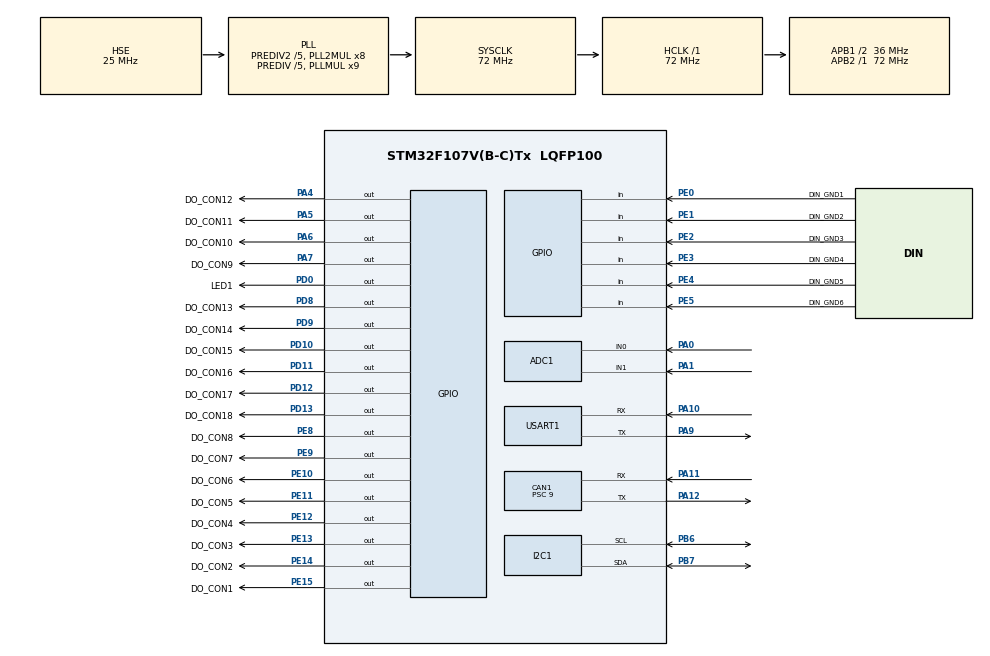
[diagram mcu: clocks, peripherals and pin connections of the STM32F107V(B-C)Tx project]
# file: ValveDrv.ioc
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ADC1.Channel-0\#ChannelRegularConversion=ADC_CHANNEL_0
ADC1.Channel-1\#ChannelRegularConversion=ADC_CHANNEL_1
ADC1.ContinuousConvMode=ENABLE
ADC1.NbrOfConversion=2
ADC1.NbrOfConversionFlag=1
ADC1.Rank-0\#ChannelRegularConversion=1
ADC1.Rank-1\#ChannelRegularConversion=2
ADC1.SamplingTime-0\#ChannelRegularConversion=ADC_SAMPLETIME_55CYCLES_5
ADC1.SamplingTime-1\#ChannelRegularConversion=ADC_SAMPLETIME_55CYCLES_5
ADC1.master=1
CAN1.BS1=CAN_BS1_7TQ
CAN1.BS2=CAN_BS2_8TQ
CAN1.CalculateBaudRate=250000
CAN1.CalculateTimeBit=4000
CAN1.CalculateTimeQuantum=250.0
CAN1.NART=ENABLE
CAN1.Prescaler=9
Dma.ADC1.0.Direction=DMA_PERIPH_TO_MEMORY
Dma.ADC1.0.Instance=DMA1_Channel1
Dma.ADC1.0.MemDataAlignment=DMA_MDATAALIGN_HALFWORD
Dma.ADC1.0.MemInc=DMA_MINC_ENABLE
Dma.ADC1.0.Mode=DMA_CIRCULAR
Dma.ADC1.0.PeriphDataAlignment=DMA_PDATAALIGN_HALFWORD
Dma.ADC1.0.PeriphInc=DMA_PINC_DISABLE
Dma.ADC1.0.Priority=DMA_PRIORITY_HIGH
Dma.Request0=ADC1
FREERTOS.Tasks01=defaultTask,0,64,StartDefaultTask,Default,NULL,Dynamic,NULL,NULL;Task_CAN,1,128,CanTask,Default,NULL,Dynamic,NULL,NULL;Task_FeedDog,0,64,FeedDogTask,Default,NULL,Dynamic,NULL,NULL;Task_GPIO,2,64,GPIOControlTask,Default,NULL,Dynamic,NULL,NULL
FREERTOS.configMINIMAL_STACK_SIZE=64
FREERTOS.configTOTAL_HEAP_SIZE=8192
FREERTOS.configUSE_TIMERS=0
IWDG.Prescaler=IWDG_PRESCALER_64
IWDG.Reload=500
Mcu.Family=STM32F1
Mcu.Name=STM32F107V(B-C)Tx
Mcu.Package=LQFP100
NVIC.CAN1_RX0_IRQn=true\:5\:0\:false\:false\:true\:true\:true\:true
NVIC.DMA1_Channel1_IRQn=true\:5\:0\:false\:false\:true\:true\:false\:true
NVIC.PriorityGroup=NVIC_PRIORITYGROUP_4
NVIC.TIM1_UP_IRQn=true\:15\:0\:false\:false\:true\:false\:false\:true
NVIC.TimeBase=TIM1_UP_IRQn
NVIC.TimeBaseIP=TIM1
NVIC.USART1_IRQn=true\:5\:0\:false\:false\:true\:true\:true\:true
OSC_IN.Mode=HSE-External-Oscillator
OSC_IN.Signal=RCC_OSC_IN
OSC_OUT.Mode=HSE-External-Oscillator
OSC_OUT.Signal=RCC_OSC_OUT
PA0-WKUP.Signal=ADCx_IN0
PA1.Signal=ADCx_IN1
PA10.GPIO_PuPd=GPIO_PULLDOWN
PA10.Mode=Asynchronous
PA10.Signal=USART1_RX
PA11.Mode=CAN_Activate
PA11.Signal=CAN1_RX
PA12.Mode=CAN_Activate
PA12.Signal=CAN1_TX
PA13.Mode=Serial_Wire
PA13.Signal=SYS_JTMS-SWDIO
PA14.Mode=Serial_Wire
PA14.Signal=SYS_JTCK-SWCLK
PA4.GPIO_Label=DO_CON12
PA4.GPIO_PuPd=GPIO_PULLDOWN
PA4.GPIO_Speed=GPIO_SPEED_FREQ_HIGH
PA4.Signal=GPIO_Output
PA5.GPIO_Label=DO_CON11
PA5.GPIO_PuPd=GPIO_PULLDOWN
PA5.GPIO_Speed=GPIO_SPEED_FREQ_HIGH
PA5.Signal=GPIO_Output
PA6.GPIO_Label=DO_CON10
PA6.GPIO_PuPd=GPIO_PULLDOWN
PA6.GPIO_Speed=GPIO_SPEED_FREQ_HIGH
PA6.Signal=GPIO_Output
PA7.GPIO_Label=DO_CON9
PA7.GPIO_PuPd=GPIO_PULLDOWN
PA7.GPIO_Speed=GPIO_SPEED_FREQ_HIGH
PA7.Signal=GPIO_Output
PA9.Mode=Asynchronous
PA9.Signal=USART1_TX
PB6.Mode=I2C
PB6.Signal=I2C1_SCL
PB7.Mode=I2C
PB7.Signal=I2C1_SDA
PD0.GPIO_Label=LED1
PD0.GPIO_PuPd=GPIO_PULLDOWN
PD0.GPIO_Speed=GPIO_SPEED_FREQ_HIGH
PD0.Signal=GPIO_Output
PD10.GPIO_Label=DO_CON15
PD10.GPIO_PuPd=GPIO_PULLDOWN
PD10.GPIO_Speed=GPIO_SPEED_FREQ_HIGH
PD10.Signal=GPIO_Output
PD11.GPIO_Label=DO_CON16
PD11.GPIO_PuPd=GPIO_PULLDOWN
PD11.GPIO_Speed=GPIO_SPEED_FREQ_HIGH
PD11.Signal=GPIO_Output
PD12.GPIO_Label=DO_CON17
PD12.GPIO_PuPd=GPIO_PULLDOWN
PD12.GPIO_Speed=GPIO_SPEED_FREQ_HIGH
PD12.Signal=GPIO_Output
PD13.GPIO_Label=DO_CON18
PD13.GPIO_PuPd=GPIO_PULLDOWN
PD13.GPIO_Speed=GPIO_SPEED_FREQ_HIGH
PD13.Signal=GPIO_Output
PD8.GPIO_Label=DO_CON13
PD8.GPIO_PuPd=GPIO_PULLDOWN
PD8.GPIO_Speed=GPIO_SPEED_FREQ_HIGH
PD8.Signal=GPIO_Output
PD9.GPIO_Label=DO_CON14
PD9.GPIO_PuPd=GPIO_PULLDOWN
PD9.GPIO_Speed=GPIO_SPEED_FREQ_HIGH
PD9.Signal=GPIO_Output
PE0.GPIO_Label=DIN_GND1
PE0.Signal=GPIO_Input
PE1.GPIO_Label=DIN_GND2
PE1.Signal=GPIO_Input
PE10.GPIO_Label=DO_CON6
PE10.GPIO_PuPd=GPIO_PULLDOWN
PE10.GPIO_Speed=GPIO_SPEED_FREQ_HIGH
PE10.Signal=GPIO_Output
PE11.GPIO_Label=DO_CON5
PE11.GPIO_PuPd=GPIO_PULLDOWN
PE11.GPIO_Speed=GPIO_SPEED_FREQ_HIGH
PE11.Signal=GPIO_Output
PE12.GPIO_Label=DO_CON4
PE12.GPIO_PuPd=GPIO_PULLDOWN
PE12.GPIO_Speed=GPIO_SPEED_FREQ_HIGH
PE12.Signal=GPIO_Output
PE13.GPIO_Label=DO_CON3
PE13.GPIO_PuPd=GPIO_PULLDOWN
PE13.GPIO_Speed=GPIO_SPEED_FREQ_HIGH
PE13.Signal=GPIO_Output
PE14.GPIO_Label=DO_CON2
PE14.GPIO_PuPd=GPIO_PULLDOWN
PE14.GPIO_Speed=GPIO_SPEED_FREQ_HIGH
PE14.Signal=GPIO_Output
PE15.GPIO_Label=DO_CON1
PE15.GPIO_PuPd=GPIO_PULLDOWN
PE15.GPIO_Speed=GPIO_SPEED_FREQ_HIGH
PE15.Signal=GPIO_Output
PE2.GPIO_Label=DIN_GND3
PE2.Signal=GPIO_Input
PE3.GPIO_Label=DIN_GND4
PE3.Signal=GPIO_Input
PE4.GPIO_Label=DIN_GND5
PE4.Signal=GPIO_Input
PE5.GPIO_Label=DIN_GND6
PE5.Signal=GPIO_Input
PE8.GPIO_Label=DO_CON8
PE8.GPIO_PuPd=GPIO_PULLDOWN
PE8.GPIO_Speed=GPIO_SPEED_FREQ_HIGH
PE8.Signal=GPIO_Output
PE9.GPIO_Label=DO_CON7
PE9.GPIO_PuPd=GPIO_PULLDOWN
PE9.GPIO_Speed=GPIO_SPEED_FREQ_HIGH
PE9.Signal=GPIO_Output
ProjectManager.HeapSize=0x200
ProjectManager.StackSize=0x400
ProjectManager.TargetToolchain=MDK-ARM V5
RCC.ADCPresc=RCC_ADCPCLK2_DIV6
RCC.AHBFreq_Value=72000000
RCC.APB1CLKDivider=RCC_HCLK_DIV2
RCC.APB1Freq_Value=36000000
RCC.APB1TimFreq_Value=72000000
RCC.APB2Freq_Value=72000000
RCC.APB2TimFreq_Value=72000000
RCC.HCLKFreq_Value=72000000
RCC.HSEDivPLL=RCC_HSE_PREDIV_DIV5
RCC.HSE_VALUE=25000000
RCC.PLLMUL=RCC_PLL_MUL9
RCC.PLLSourceVirtual=RCC_PLLSOURCE_HSE
RCC.Prediv1Source=RCC_PREDIV1_SOURCE_PLL2
RCC.Prediv2=RCC_HSE_PREDIV2_DIV5
RCC.SYSCLKFreq_VALUE=72000000
RCC.SYSCLKSource=RCC_SYSCLKSOURCE_PLLCLK
RCC.USBFreq_Value=48000000
SH.ADCx_IN0.0=ADC1_IN0,IN0
SH.ADCx_IN1.0=ADC1_IN1,IN1
USART1.VirtualMode=VM_ASYNC
VP_FREERTOS_VS_CMSIS_V1.Mode=CMSIS_V1
VP_IWDG_VS_IWDG.Mode=IWDG_Activate
VP_SYS_VS_tim1.Mode=TIM1
board=custom

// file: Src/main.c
/* USER CODE BEGIN Header */
/**
  ******************************************************************************
  * @file           : main.c
  * @brief          : Main program body
  ******************************************************************************
  * @attention
  *
  * <h2><center>&copy; Copyright (c) 2021 STMicroelectronics.
  * All rights reserved.</center></h2>
  *
  * This software component is licensed by ST under Ultimate Liberty license
  * SLA0044, the "License"; You may not use this file except in compliance with
  * the License. You may obtain a copy of the License at:
  *                             www.st.com/SLA0044
  *
  ******************************************************************************
  */
/* USER CODE END Header */
#include "main.h"
#include "cmsis_os.h"
#include "adc.h"
#include "can.h"
#include "dma.h"
#include "i2c.h"
#include "iwdg.h"
#include "usart.h"
#include "gpio.h"

/* USER CODE BEGIN Includes */
#include "stdio.h"
/* USER CODE END Includes */

/* USER CODE BEGIN PTD */
uint16_t ADC1_Val_Buffer[2];
uint16_t ADC_Val_Buffer[2];
uint16_t ADC_Buffer1[100];
uint16_t ADC_Buffer2[100];
/* USER CODE END PTD */

void SystemClock_Config(void);
void MX_FREERTOS_Init(void);

int main(void)
{

  /* MCU Configuration--------------------------------------------------------*/

  /* Reset of all peripherals, Initializes the Flash interface and the Systick. */
  HAL_Init();

  /* Configure the system clock */
  SystemClock_Config();

  /* Initialize all configured peripherals */
  MX_GPIO_Init();
  MX_CAN1_Init();
  MX_USART1_UART_Init();
  MX_DMA_Init();
  MX_ADC1_Init();
  MX_IWDG_Init();
  MX_I2C1_Init();
  /* USER CODE BEGIN 2 */
  CAN_User_Init(&hcan1);
	HAL_ADCEx_Calibration_Start(&hadc1);
	if(HAL_ADC_Start_DMA(&hadc1, (uint32_t*)&ADC1_Val_Buffer, 2) != HAL_OK)
  {
    Error_Handler();
  }
	//printf("1\n");
  /* USER CODE END 2 */

  /* Call init function for freertos objects (in freertos.c) */
  MX_FREERTOS_Init();
  /* Start scheduler */
  osKernelStart();

  /* We should never get here as control is now taken by the scheduler */
  /* Infinite loop */
  while (1)
  {

  }
}

void SystemClock_Config(void)
{
  RCC_OscInitTypeDef RCC_OscInitStruct = {0};
  RCC_ClkInitTypeDef RCC_ClkInitStruct = {0};
  RCC_PeriphCLKInitTypeDef PeriphClkInit = {0};

  /** Initializes the RCC Oscillators according to the specified parameters
  * in the RCC_OscInitTypeDef structure.
  */
  RCC_OscInitStruct.OscillatorType = RCC_OSCILLATORTYPE_LSI|RCC_OSCILLATORTYPE_HSE;
  RCC_OscInitStruct.HSEState = RCC_HSE_ON;
  RCC_OscInitStruct.HSEPredivValue = RCC_HSE_PREDIV_DIV5;
  RCC_OscInitStruct.HSIState = RCC_HSI_ON;
  RCC_OscInitStruct.LSIState = RCC_LSI_ON;
  RCC_OscInitStruct.Prediv1Source = RCC_PREDIV1_SOURCE_PLL2;
  RCC_OscInitStruct.PLL.PLLState = RCC_PLL_ON;
  RCC_OscInitStruct.PLL.PLLSource = RCC_PLLSOURCE_HSE;
  RCC_OscInitStruct.PLL.PLLMUL = RCC_PLL_MUL9;
  RCC_OscInitStruct.PLL2.PLL2State = RCC_PLL2_ON;
  RCC_OscInitStruct.PLL2.PLL2MUL = RCC_PLL2_MUL8;
  RCC_OscInitStruct.PLL2.HSEPrediv2Value = RCC_HSE_PREDIV2_DIV5;
  if (HAL_RCC_OscConfig(&RCC_OscInitStruct) != HAL_OK)
  {
    Error_Handler();
  }
  /** Initializes the CPU, AHB and APB buses clocks
  */
  RCC_ClkInitStruct.ClockType = RCC_CLOCKTYPE_HCLK|RCC_CLOCKTYPE_SYSCLK
                              |RCC_CLOCKTYPE_PCLK1|RCC_CLOCKTYPE_PCLK2;
  RCC_ClkInitStruct.SYSCLKSource = RCC_SYSCLKSOURCE_PLLCLK;
  RCC_ClkInitStruct.AHBCLKDivider = RCC_SYSCLK_DIV1;
  RCC_ClkInitStruct.APB1CLKDivider = RCC_HCLK_DIV2;
  RCC_ClkInitStruct.APB2CLKDivider = RCC_HCLK_DIV1;

  if (HAL_RCC_ClockConfig(&RCC_ClkInitStruct, FLASH_LATENCY_2) != HAL_OK)
  {
    Error_Handler();
  }
  PeriphClkInit.PeriphClockSelection = RCC_PERIPHCLK_ADC;
  PeriphClkInit.AdcClockSelection = RCC_ADCPCLK2_DIV6;
  if (HAL_RCCEx_PeriphCLKConfig(&PeriphClkInit) != HAL_OK)
  {
    Error_Handler();
  }
  /** Configure the Systick interrupt time
  */
  __HAL_RCC_PLLI2S_ENABLE();
}

void HAL_TIM_PeriodElapsedCallback(TIM_HandleTypeDef *htim)
{
  if (htim->Instance == TIM1) {
    HAL_IncTick();
  }
}

void Error_Handler(void)
{
}

/************************ (C) COPYRIGHT STMicroelectronics *****END OF FILE****/

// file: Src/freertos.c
/* USER CODE BEGIN Header */
/**
  ******************************************************************************
  * File Name          : freertos.c
  * Description        : Code for freertos applications
  ******************************************************************************
  * @attention
  *
  * <h2><center>&copy; Copyright (c) 2021 STMicroelectronics.
  * All rights reserved.</center></h2>
  *
  * This software component is licensed by ST under Ultimate Liberty license
  * SLA0044, the "License"; You may not use this file except in compliance with
  * the License. You may obtain a copy of the License at:
  *                             www.st.com/SLA0044
  *
  ******************************************************************************
  */
/* USER CODE END Header */

#include "FreeRTOS.h"
#include "task.h"
#include "main.h"
#include "cmsis_os.h"

/* USER CODE BEGIN Includes */
#include "can.h"
#include "iwdg.h"
#include "usart.h"
#include "gpio.h"
#include "stdio.h"
/* USER CODE END Includes */

/* USER CODE BEGIN Variables */

	/*从CAN接收来的码位数据*/
	uint8_t CAN_Data_0 = 0x00;
	uint8_t CAN_Data_1 = 0x00;
	uint8_t CAN_Data_2 = 0x00;

	/*下位机控制标志位*/
	uint8_t Control_Flag = 0; 	//1 - 下位机控制 0 - 上位机控制
	uint16_t Set_Time = 0;		//控制离合器（合）置1的时间
	uint16_t Reset_Time = 0;	//控制离合器（合）置0的时间
/* USER CODE END Variables */
osThreadId defaultTaskHandle;
osThreadId Task_CANHandle;
osThreadId Task_FeedDogHandle;
osThreadId Task_GPIOHandle;

void StartDefaultTask(void const * argument);
void CanTask(void const * argument);
void FeedDogTask(void const * argument);
void GPIOControlTask(void const * argument);

void MX_FREERTOS_Init(void); /* (MISRA C 2004 rule 8.1) */

/* GetIdleTaskMemory prototype (linked to static allocation support) */
void vApplicationGetIdleTaskMemory( StaticTask_t **ppxIdleTaskTCBBuffer, StackType_t **ppxIdleTaskStackBuffer, uint32_t *pulIdleTaskStackSize );

/* USER CODE BEGIN GET_IDLE_TASK_MEMORY */
static StaticTask_t xIdleTaskTCBBuffer;
static StackType_t xIdleStack[configMINIMAL_STACK_SIZE];

void vApplicationGetIdleTaskMemory( StaticTask_t **ppxIdleTaskTCBBuffer, StackType_t **ppxIdleTaskStackBuffer, uint32_t *pulIdleTaskStackSize )
{
  *ppxIdleTaskTCBBuffer = &xIdleTaskTCBBuffer;
  *ppxIdleTaskStackBuffer = &xIdleStack[0];
  *pulIdleTaskStackSize = configMINIMAL_STACK_SIZE;
  /* place for user code */
}
/* USER CODE END GET_IDLE_TASK_MEMORY */

void MX_FREERTOS_Init(void) {

  /* Create the thread(s) */
  /* definition and creation of defaultTask */
  osThreadDef(defaultTask, StartDefaultTask, osPriorityNormal, 0, 64);
  defaultTaskHandle = osThreadCreate(osThread(defaultTask), NULL);

  /* definition and creation of Task_CAN */
  osThreadDef(Task_CAN, CanTask, osPriorityAboveNormal, 0, 128);
  Task_CANHandle = osThreadCreate(osThread(Task_CAN), NULL);

  /* definition and creation of Task_FeedDog */
  osThreadDef(Task_FeedDog, FeedDogTask, osPriorityNormal, 0, 64);
  Task_FeedDogHandle = osThreadCreate(osThread(Task_FeedDog), NULL);

  /* definition and creation of Task_GPIO */
  osThreadDef(Task_GPIO, GPIOControlTask, osPriorityHigh, 0, 64);
  Task_GPIOHandle = osThreadCreate(osThread(Task_GPIO), NULL);

}

void StartDefaultTask(void const * argument)
{
  /* USER CODE BEGIN StartDefaultTask */
  /* Infinite loop */
  for(;;)
  {
    osDelay(1000);
  }
  /* USER CODE END StartDefaultTask */
}

void CanTask(void const * argument)
{
  /* USER CODE BEGIN CanTask */

	osDelay(1000);
	HAL_GPIO_WritePin(LED1_GPIO_Port, LED1_Pin, GPIO_PIN_RESET);
  /* Infinite loop */
  for(;;)
  {
	//对Data[0]的判断
//	if(CAN_Data_0 & 0x01){
//		HAL_GPIO_WritePin(DO_CON1_GPIO_Port, DO_CON1_Pin, GPIO_PIN_SET);
//	} else {
//		HAL_GPIO_WritePin(DO_CON1_GPIO_Port, DO_CON1_Pin, GPIO_PIN_RESET);
//	}
//	if(CAN_Data_0 & 0x02){
//		HAL_GPIO_WritePin(DO_CON2_GPIO_Port, DO_CON2_Pin, GPIO_PIN_SET);
//	} else {
//		HAL_GPIO_WritePin(DO_CON2_GPIO_Port, DO_CON2_Pin, GPIO_PIN_RESET);
//	}
//	if(CAN_Data_0 & 0x04){
//		HAL_GPIO_WritePin(DO_CON3_GPIO_Port, DO_CON3_Pin, GPIO_PIN_SET);
//	} else {
//		HAL_GPIO_WritePin(DO_CON3_GPIO_Port, DO_CON3_Pin, GPIO_PIN_RESET);
//	}
//	if(CAN_Data_0 & 0x08){
//		HAL_GPIO_WritePin(DO_CON4_GPIO_Port, DO_CON4_Pin, GPIO_PIN_SET);
//	} else {
//		HAL_GPIO_WritePin(DO_CON4_GPIO_Port, DO_CON4_Pin, GPIO_PIN_RESET);
//	}
//	if(CAN_Data_0 & 0x10){
//		HAL_GPIO_WritePin(DO_CON5_GPIO_Port, DO_CON5_Pin, GPIO_PIN_SET);
//	} else {
//		HAL_GPIO_WritePin(DO_CON5_GPIO_Port, DO_CON5_Pin, GPIO_PIN_RESET);
//	}
//	if(CAN_Data_0 & 0x20){
//		HAL_GPIO_WritePin(DO_CON6_GPIO_Port, DO_CON6_Pin, GPIO_PIN_SET);
//	} else {
//		HAL_GPIO_WritePin(DO_CON6_GPIO_Port, DO_CON6_Pin, GPIO_PIN_RESET);
//	}
//	if(CAN_Data_0 & 0x40){
//		HAL_GPIO_WritePin(DO_CON7_GPIO_Port, DO_CON7_Pin, GPIO_PIN_SET);
//	} else {
//		HAL_GPIO_WritePin(DO_CON7_GPIO_Port, DO_CON7_Pin, GPIO_PIN_RESET);
//	}
//	if(CAN_Data_0 & 0x80){
//		HAL_GPIO_WritePin(DO_CON8_GPIO_Port, DO_CON8_Pin, GPIO_PIN_SET);
//	} else {
//		HAL_GPIO_WritePin(DO_CON8_GPIO_Port, DO_CON8_Pin, GPIO_PIN_RESET);
//	}
//	//对Data[1]的判断
//	if(CAN_Data_1 & 0x01){
//		HAL_GPIO_WritePin(DO_CON9_GPIO_Port, DO_CON9_Pin, GPIO_PIN_SET);
//	} else {
//		HAL_GPIO_WritePin(DO_CON9_GPIO_Port, DO_CON9_Pin, GPIO_PIN_RESET);
//	}
//	if(CAN_Data_1 & 0x02){
//		HAL_GPIO_WritePin(DO_CON10_GPIO_Port, DO_CON10_Pin, GPIO_PIN_SET);
//	} else {
//		HAL_GPIO_WritePin(DO_CON10_GPIO_Port, DO_CON10_Pin, GPIO_PIN_RESET);
//	}
//	if(CAN_Data_1 & 0x04){
//		HAL_GPIO_WritePin(DO_CON11_GPIO_Port, DO_CON11_Pin, GPIO_PIN_SET);
//	} else {
//		HAL_GPIO_WritePin(DO_CON11_GPIO_Port, DO_CON11_Pin, GPIO_PIN_RESET);
//	}
//	if(CAN_Data_1 & 0x08){
//		HAL_GPIO_WritePin(DO_CON12_GPIO_Port, DO_CON12_Pin, GPIO_PIN_SET);
//	} else {
//		HAL_GPIO_WritePin(DO_CON12_GPIO_Port, DO_CON12_Pin, GPIO_PIN_RESET);
//	}
//	if(CAN_Data_1 & 0x10){
//		HAL_GPIO_WritePin(DO_CON13_GPIO_Port, DO_CON13_Pin, GPIO_PIN_SET);
//	} else {
//		HAL_GPIO_WritePin(DO_CON13_GPIO_Port, DO_CON13_Pin, GPIO_PIN_RESET);
//	}
//	if(CAN_Data_1 & 0x20){
//		HAL_GPIO_WritePin(DO_CON14_GPIO_Port, DO_CON14_Pin, GPIO_PIN_SET);
//	} else {
//		HAL_GPIO_WritePin(DO_CON14_GPIO_Port, DO_CON14_Pin, GPIO_PIN_RESET);
//	}
//	if(CAN_Data_1 & 0x40){
//		HAL_GPIO_WritePin(DO_CON15_GPIO_Port, DO_CON15_Pin, GPIO_PIN_SET);
//	} else {
//		HAL_GPIO_WritePin(DO_CON15_GPIO_Port, DO_CON15_Pin, GPIO_PIN_RESET);
//	}
//	if(CAN_Data_1 & 0x80){
//		HAL_GPIO_WritePin(DO_CON16_GPIO_Port, DO_CON16_Pin, GPIO_PIN_SET);
//	} else {
//		HAL_GPIO_WritePin(DO_CON16_GPIO_Port, DO_CON16_Pin, GPIO_PIN_RESET);
//	}
//	//对Data[2]的判断
//	if(CAN_Data_2 & 0x01){
//		HAL_GPIO_WritePin(DO_CON17_GPIO_Port, DO_CON17_Pin, GPIO_PIN_SET);
//	} else {
//		HAL_GPIO_WritePin(DO_CON17_GPIO_Port, DO_CON17_Pin, GPIO_PIN_RESET);
//	}
//	if(CAN_Data_2 & 0x02){
//		HAL_GPIO_WritePin(DO_CON18_GPIO_Port, DO_CON18_Pin, GPIO_PIN_SET);
//	} else {
//		HAL_GPIO_WritePin(DO_CON18_GPIO_Port, DO_CON18_Pin, GPIO_PIN_RESET);
//	}
//	if(HAL_GPIO_ReadPin(DIN_GND1_GPIO_Port,DIN_GND1_Pin)==0){
//		HAL_GPIO_WritePin(LED1_GPIO_Port, LED1_Pin, GPIO_PIN_SET);
//	}else if(HAL_GPIO_ReadPin(DIN_GND2_GPIO_Port,DIN_GND2_Pin)==0){
//		HAL_GPIO_WritePin(LED1_GPIO_Port, LED1_Pin, GPIO_PIN_SET);
//	}else if(HAL_GPIO_ReadPin(DIN_GND3_GPIO_Port,DIN_GND3_Pin)==0){
//		HAL_GPIO_WritePin(LED1_GPIO_Port, LED1_Pin, GPIO_PIN_SET);
//	}else if(HAL_GPIO_ReadPin(DIN_GND4_GPIO_Port,DIN_GND4_Pin)==0){
//		HAL_GPIO_WritePin(LED1_GPIO_Port, LED1_Pin, GPIO_PIN_SET);
//	}else if(HAL_GPIO_ReadPin(DIN_GND5_GPIO_Port,DIN_GND5_Pin)==0){
//		HAL_GPIO_WritePin(LED1_GPIO_Port, LED1_Pin, GPIO_PIN_SET);
//	}else if(HAL_GPIO_ReadPin(DIN_GND6_GPIO_Port,DIN_GND6_Pin)==0){
//		HAL_GPIO_WritePin(LED1_GPIO_Port, LED1_Pin, GPIO_PIN_SET);
//	}else
//	{
//		HAL_GPIO_WritePin(LED1_GPIO_Port, LED1_Pin, GPIO_PIN_RESET);
//	}

	ADC_Val_Buffer[0] = ADC_Filter(ADC_Buffer1,100,ADC1_Val_Buffer[0]);
	ADC_Val_Buffer[1] = ADC_Filter(ADC_Buffer2,100,ADC1_Val_Buffer[1]);
	osDelay(20);
  }
  /* USER CODE END CanTask */
}

void FeedDogTask(void const * argument)
{
  /* USER CODE BEGIN FeedDogTask */

  /* Infinite loop */
  for(;;)
  {
	HAL_IWDG_Refresh(&hiwdg);
	HAL_GPIO_TogglePin(LED1_GPIO_Port, LED1_Pin);
		printf("ADC1: %d\r\n",ADC_Val_Buffer[0]);
		printf("ADC2: %d\r\n",ADC_Val_Buffer[1]);
	CAN_Transmit_1();
	osDelay(500);
  }
  /* USER CODE END FeedDogTask */
}

void GPIOControlTask(void const * argument)
{
  /* USER CODE BEGIN GPIOControlTask */
  /* Infinite loop */
  for(;;)
  {
	if(Control_Flag){	//驱动器定时控制离合器（合）的开关
//		HAL_GPIO_WritePin(Output_52_GPIO_Port, Output_52_Pin, GPIO_PIN_RESET);
//		osDelay(Reset_Time);
//		HAL_GPIO_WritePin(Output_52_GPIO_Port, Output_52_Pin, GPIO_PIN_SET);
		osDelay(Set_Time);

	}else{
		osDelay(100);
	}
  }
  /* USER CODE END GPIOControlTask */
}

/************************ (C) COPYRIGHT STMicroelectronics *****END OF FILE****/
